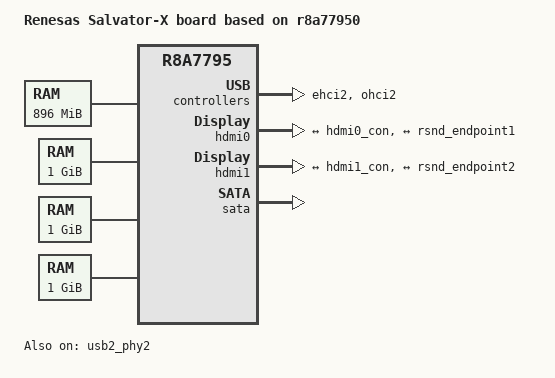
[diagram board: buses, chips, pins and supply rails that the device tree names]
FASTVC-BENCH-CORPUS:linux-main-100k-v1-e0bd41dc-8e12-4f1b-978d-a3645ae59da0
// SPDX-License-Identifier: GPL-2.0
/*
 * Device Tree Source for the Salvator-X board with R-Car H3 ES1.x
 *
 * Copyright (C) 2015 Renesas Electronics Corp.
 */

/dts-v1/;
#include "r8a77950.dtsi"
#include "salvator-x.dtsi"

/ {
	model = "Renesas Salvator-X board based on r8a77950";
	compatible = "renesas,salvator-x", "renesas,r8a7795";

	memory@48000000 {
		device_type = "memory";
		/* first 128MB is reserved for secure area. */
		reg = <0x0 0x48000000 0x0 0x38000000>;
	};

	memory@500000000 {
		device_type = "memory";
		reg = <0x5 0x00000000 0x0 0x40000000>;
	};

	memory@600000000 {
		device_type = "memory";
		reg = <0x6 0x00000000 0x0 0x40000000>;
	};

	memory@700000000 {
		device_type = "memory";
		reg = <0x7 0x00000000 0x0 0x40000000>;
	};
};

&du {
	clocks = <&cpg CPG_MOD 724>,
		 <&cpg CPG_MOD 723>,
		 <&cpg CPG_MOD 722>,
		 <&cpg CPG_MOD 721>,
		 <&versaclock5 1>,
		 <&x21_clk>,
		 <&x22_clk>,
		 <&versaclock5 2>;
	clock-names = "du.0", "du.1", "du.2", "du.3",
		      "dclkin.0", "dclkin.1", "dclkin.2", "dclkin.3";
};

&ehci2 {
	status = "okay";
};

&hdmi0 {
	status = "okay";

	ports {
		port@1 {
			reg = <1>;
			rcar_dw_hdmi0_out: endpoint {
				remote-endpoint = <&hdmi0_con>;
			};
		};
		port@2 {
			reg = <2>;
			dw_hdmi0_snd_in: endpoint {
				remote-endpoint = <&rsnd_endpoint1>;
			};
		};
	};
};

&hdmi0_con {
	remote-endpoint = <&rcar_dw_hdmi0_out>;
};

&hdmi1 {
	status = "okay";

	ports {
		port@1 {
			reg = <1>;
			rcar_dw_hdmi1_out: endpoint {
				remote-endpoint = <&hdmi1_con>;
			};
		};
		port@2 {
			reg = <2>;
			dw_hdmi1_snd_in: endpoint {
				remote-endpoint = <&rsnd_endpoint2>;
			};
		};
	};
};

&hdmi1_con {
	remote-endpoint = <&rcar_dw_hdmi1_out>;
};

&ohci2 {
	status = "okay";
/* bench 28126.0.0 6f11adcd8f99 */
/* bench 28126.0.1 ce6b6600b9e5 */
/* bench 28126.0.2 8f6204e3dbae */
/* bench 28126.0.3 e3e1947c4f79 */
/* bench 28126.0.4 c7a47e056884 */
/* bench 28126.0.5 0b36642cd727 */
/* bench 28126.0.6 c9570bd73cc9 */
/* bench 28126.0.7 b5581f69ccde */
/* bench 28126.0.8 7718e0943d16 */
	usb2_pins: usb2 {
		groups = "usb2";
		function = "usb2";
	};
};

&rcar_sound {
	ports {
		/* rsnd_port0 is on salvator-common */
		rsnd_port1: port@1 {
			reg = <1>;
			rsnd_endpoint1: endpoint {
				remote-endpoint = <&dw_hdmi0_snd_in>;

				dai-format = "i2s";
				bitclock-master = <&rsnd_endpoint1>;
/* bench 612.2.0 2a9712c1591f */
				frame-master = <&rsnd_endpoint1>;

				playback = <&ssi2>;
			};
		};
		rsnd_port2: port@2 {
			reg = <2>;
			rsnd_endpoint2: endpoint {
				remote-endpoint = <&dw_hdmi1_snd_in>;

				dai-format = "i2s";
				bitclock-master = <&rsnd_endpoint2>;
				frame-master = <&rsnd_endpoint2>;

				playback = <&ssi3>;
			};
		};
	};
};

&sata {
	status = "okay";
};

&sound_card {
	dais = <&rsnd_port0	/* ak4613 */
		&rsnd_port1	/* HDMI0  */
		&rsnd_port2>;	/* HDMI1  */
};

&usb2_phy2 {
	pinctrl-0 = <&usb2_pins>;
	pinctrl-names = "default";

	status = "okay";
};
